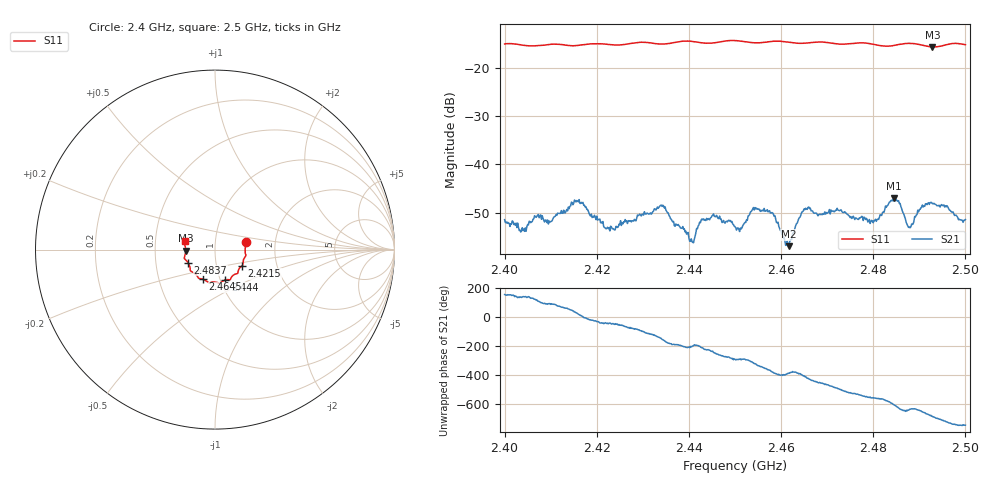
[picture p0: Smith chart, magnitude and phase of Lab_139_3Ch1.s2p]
# Hz S RI R 50
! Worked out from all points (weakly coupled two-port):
!   601 points, 2.4 GHz to 2.5 GHz, reference 50 ohm
!   highest |S21| = -47.02 dB at 2.4845 GHz (marker M1); lowest = -56.9 dB at 2.4617 GHz (marker M2)
!   lowest |S11| = -15.7 dB at 2.4928 GHz (marker M3), VSWR 1.39, Z = 36 - j0.393 ohm
!   |S11| at or under -10 dB: start of sweep to end of sweep
!   S12 and S22 are empty: the file has one direction only
!   S11 on the Smith chart (normalised r, x): 2.4 GHz: 1.41, +0.12; 2.4215 GHz: 1.33, -0.25; 2.444 GHz: 1.06, -0.37; 2.4645 GHz: 0.83, -0.29; 2.4837 GHz: 0.73, -0.11; 2.5 GHz: 0.71, +0.07
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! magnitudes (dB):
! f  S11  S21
! 2.4 GHz  -15.1  -51.4
! 2.4038 GHz  -15.3  -53.1
! 2.4068 GHz  -15.5  -50.9
! 2.4097 GHz  -15.2  -51.7
! 2.4167 GHz  -15.3  -47.8
! 2.4215 GHz  -15.1  -52.8
! 2.4333 GHz  -15.1  -49.1
! 2.4405 GHz  -14.6  -55.4
! 2.444 GHz  -15.0  -51.4
! 2.45 GHz  -14.4  -52.8
! 2.4542 GHz  -14.9  -49.4
! 2.4568 GHz  -14.7  -49.6
! 2.4617 GHz  -14.7  -56.9
! 2.4645 GHz  -15.0  -49.8
! 2.4667 GHz  -14.8  -49.6
! 2.4798 GHz  -15.1  -51.7
! 2.4833 GHz  -15.6  -48.1
! 2.4837 GHz  -15.5  -47.7
! 2.4845 GHz  -15.4  -47.0
! 2.4878 GHz  -15.0  -52.9
! 2.4928 GHz  -15.7  -48.1
! 2.5 GHz  -15.3  -51.4
